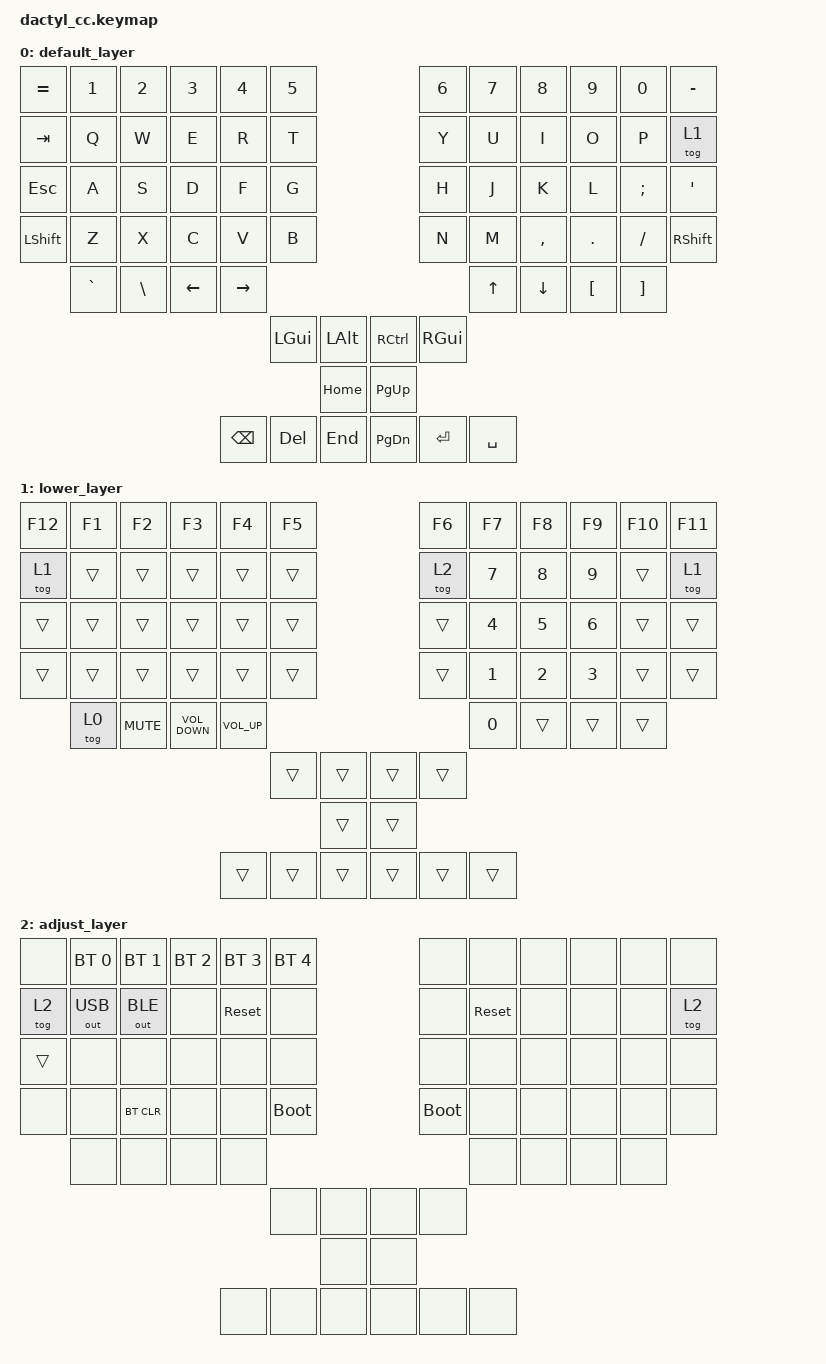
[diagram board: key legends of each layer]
#include <behaviors.dtsi>
#include <dt-bindings/zmk/bt.h>
#include <dt-bindings/zmk/keys.h>
#include <dt-bindings/zmk/outputs.h>

#define DEFAULT 0
#define LOWER   1
#define ADJUST  2

&sl {
    release-after-ms = <5000>;
};

&kscan0 {
    debounce-press-ms = <30>;
    debounce-release-ms = <30>;
};

/ {
    keymap {
        compatible = "zmk,keymap";

        default_layer {
            bindings = <
&kp EQUAL   &kp N1     &kp N2    &kp N3    &kp N4         &kp N5                                     &kp N6     &kp N7     &kp N8     &kp N9    &kp N0    &kp MINUS
&kp TAB     &kp Q      &kp W     &kp E     &kp R          &kp T                                      &kp Y      &kp U      &kp I      &kp O     &kp P     &tog 1
&kp ESCAPE  &kp A      &kp S     &kp D     &kp F          &kp G                                      &kp H      &kp J      &kp K      &kp L     &kp SEMI  &kp SQT
&kp LSHFT   &kp Z      &kp X     &kp C     &kp V          &kp B                                      &kp N      &kp M      &kp COMMA  &kp DOT   &kp FSLH  &kp RSHFT
            &kp GRAVE  &kp BSLH  &kp LEFT  &kp RIGHT                                                            &kp UP     &kp DOWN   &kp LBKT  &kp RBKT
                                                          &kp LGUI  &kp LEFT_ALT  &kp RIGHT_CONTROL  &kp RGUI
                                                                    &kp HOME      &kp PAGE_UP
                                           &kp BACKSPACE  &kp DEL   &kp END       &kp PAGE_DOWN      &kp ENTER  &kp SPACE
            >;
        };

        lower_layer {
            bindings = <
&kp F12  &kp F1  &kp F2      &kp F3             &kp F4           &kp F5                  &kp F6  &kp F7  &kp F8  &kp F9  &kp F10  &kp F11
&tog 1   &trans  &trans      &trans             &trans           &trans                  &tog 2  &kp N7  &kp N8  &kp N9  &trans   &tog 1
&trans   &trans  &trans      &trans             &trans           &trans                  &trans  &kp N4  &kp N5  &kp N6  &trans   &trans
&trans   &trans  &trans      &trans             &trans           &trans                  &trans  &kp N1  &kp N2  &kp N3  &trans   &trans
         &tog 0  &kp K_MUTE  &kp C_VOLUME_DOWN  &kp C_VOLUME_UP                                  &kp N0  &trans  &trans  &trans
                                                                 &trans  &trans  &trans  &trans
                                                                         &trans  &trans
                                                &trans           &trans  &trans  &trans  &trans  &trans
            >;
        };

        adjust_layer {
            bindings = <
&none   &bt BT_SEL 0  &bt BT_SEL 1  &bt BT_SEL 2  &bt BT_SEL 3  &bt BT_SEL 4                &none        &none       &none  &none  &none  &none
&tog 2  &out OUT_USB  &out OUT_BLE  &none         &sys_reset    &none                       &none        &sys_reset  &none  &none  &none  &tog 2
&trans  &none         &none         &none         &none         &none                       &none        &none       &none  &none  &none  &none
&none   &none         &bt BT_CLR    &none         &none         &bootloader                 &bootloader  &none       &none  &none  &none  &none
        &none         &none         &none         &none                                                  &none       &none  &none  &none
                                                                &none         &none  &none  &none
                                                                              &none  &none
                                                  &none         &none         &none  &none  &none        &none
            >;
        };
    };
};
